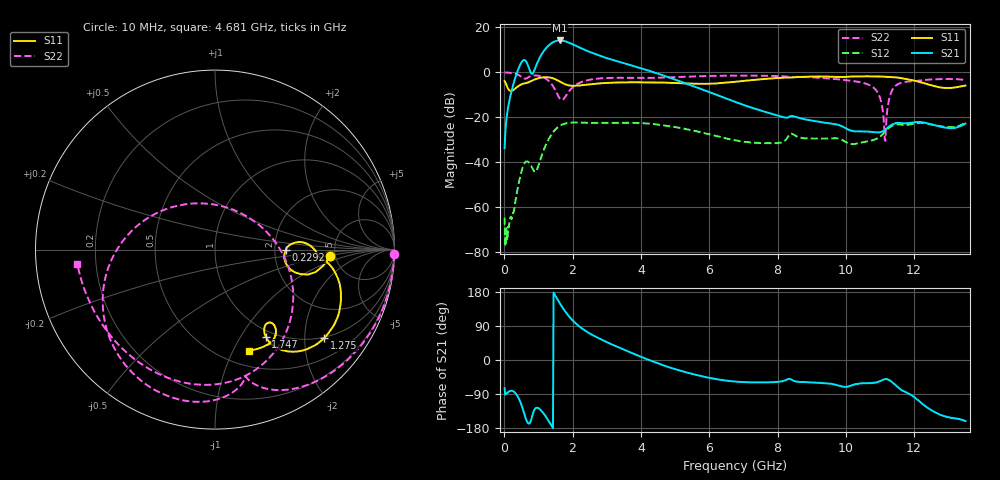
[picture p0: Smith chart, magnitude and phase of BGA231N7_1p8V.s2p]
! Infineon Technologies AG
! BGA231N7
! Silicon Germanium GPS Low Noise Amplifier in TSNP-7-1
! Vcc=1.8 V, PON=1.8 V
! C1=1uF, L1=39nH (Murata_LQP03T_0201)
! Measured S- and Noise Parameters
# Hz S  MA  R 50
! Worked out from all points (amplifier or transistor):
!   801 points, 10 MHz to 13.5 GHz, reference 50 ohm
!   highest |S21| = 14.2 dB at 1.629 GHz (marker M1)
!   |S21| within 3 dB of that: 1.249 GHz to 2.184 GHz (935.6 MHz wide, 54.5 % of centre)
!   unconditionally stable (mu >= 1): start of sweep to end of sweep
!   at 2.253 GHz: K = 1.15, MAG = 14.2 dB, |S12| = -22.3 dB
!   at 6.755 GHz: K = 12.58, MAG = -5.4 dB, |S12| = -30.2 dB
!   at 13.5 GHz: K = 36.14, MAG = -18.8 dB, |S12| = -22.4 dB
!   lowest NFmin = 0.53 dB at 1.575 GHz
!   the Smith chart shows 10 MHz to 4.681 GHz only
!   S11 on the Smith chart (normalised r, x): 10 MHz: 4.48, -0.57; 229.2 MHz: 2.30, -0.01; 1.275 GHz: 0.98, -2.48; 1.747 GHz: 0.91, -1.29; 4.681 GHz: 0.66, -1.16
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1e7  0.6399 -3.4  0.02079 -74.6  0.0005905 40.4  0.999 -1.5
2.292125e8  0.394 -0.4  0.4298 -81.2  0.000618 135.3  0.9688 -35.6
4.8215e8  0.5344 2.0  1.575 -113.5  0.005449 167.5  0.819 -70.5
6.1705e8  0.5743 -3.2  1.839 -151.1  0.01015 133.5  0.7271 -76.5
7.5195e8  0.6259 -6.3  1.091 -165.6  0.009205 105.2  0.8153 -85.1
9.374375e8  0.7202 -15.3  1.439 -126.1  0.006395 136.0  0.8566 -108.2
1.122925e9  0.7778 -27.9  2.743 -138.0  0.01625 161.6  0.7938 -133.4
1.274688e9  0.7825 -39.0  3.819 -157.2  0.03024 151.7  0.6761 -157.6
1.460175e9  0.7243 -51.7  4.837 175.1  0.0501 130.4  0.4514 162.6
1.6288e9  0.6238 -58.8  5.149 149.4  0.06519 108.8  0.2601 100.1
1.746838e9  0.5613 -59.8  5.011 132.9  0.07169 94.9  0.262 41.2
1.949188e9  0.5067 -56.5  4.407 109.6  0.07637 75.4  0.4255 -14.6
2.269575e9  0.5185 -52.1  3.406 83.6  0.07651 54.5  0.6156 -50.8
3.04525e9  0.5857 -55.0  2.039 45.3  0.07583 26.0  0.7551 -93.8
4.512288e9  0.5993 -68.3  0.9323 -9.3  0.06901 -17.2  0.7638 -167.2
4.680912e9  0.595 -71.4  0.8454 -14.6  0.06631 -21.5  0.7709 -174.1
6.755e9  0.619 -146.9  0.2218 -56.7  0.03091 -42.6  0.8517 161.6
9.014575e9  0.8084 -167.8  0.0847 -59.3  0.03378 -39.0  0.778 167.5
1.075141e10  0.8193 -150.9  0.0475 -61.0  0.03061 -41.3  0.4942 114.3
1.113925e10  0.8066 -150.5  0.05191 -50.7  0.04782 -37.4  0.03192 104.6
1.125729e10  0.798 -151.0  0.06182 -52.7  0.0583 -45.8  0.236 -159.0
1.35e10  0.511 107.9  0.07263 -161.1  0.07622 -162.3  0.6804 78.7
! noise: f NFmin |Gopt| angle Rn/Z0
1.575e+09  0.53  0.43  47.8  0.14
1.61e+09  0.54  0.43  48.7  0.13
